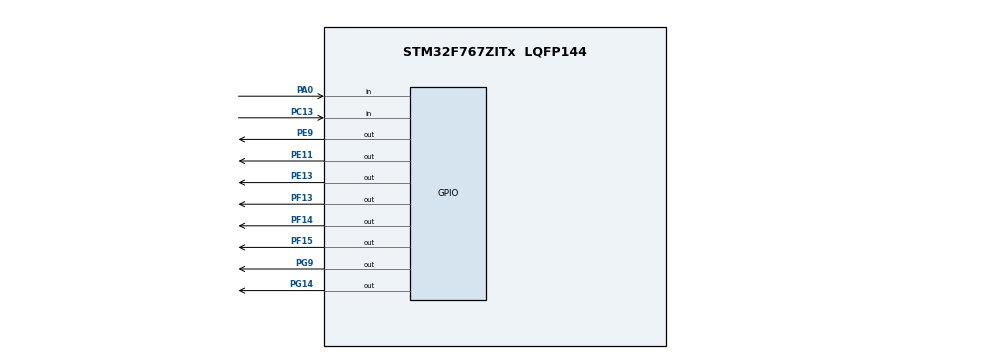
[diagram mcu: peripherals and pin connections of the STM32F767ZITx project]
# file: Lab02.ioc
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CORTEX_M7.default_mode_Activation=1
Mcu.Family=STM32F7
Mcu.Name=STM32F767ZITx
Mcu.Package=LQFP144
NVIC.PriorityGroup=NVIC_PRIORITYGROUP_4
PA0/WKUP.Signal=GPIO_Input
PC13.Signal=GPIO_Input
PE11.Signal=GPIO_Output
PE13.Signal=GPIO_Output
PE9.Signal=GPIO_Output
PF13.Signal=GPIO_Output
PF14.Signal=GPIO_Output
PF15.Signal=GPIO_Output
PG14.Signal=GPIO_Output
PG9.Signal=GPIO_Output
ProjectManager.HeapSize=0x200
ProjectManager.StackSize=0x400
ProjectManager.TargetToolchain=STM32CubeIDE
RCC.HSE_VALUE=25000000
RCC.HSI_VALUE=16000000
RCC.LSE_VALUE=32768
RCC.USBFreq_Value=96000000
RCC.VCOOutputFreq_Value=192000000
board=custom

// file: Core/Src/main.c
/* USER CODE BEGIN Header */
/**
  ******************************************************************************
  * @file           : main.c
  * @brief          : Main program body
  ******************************************************************************
  * @attention
  *
  * Copyright (c) 2025 STMicroelectronics.
  * All rights reserved.
  *
  * This software is licensed under terms that can be found in the LICENSE file
  * in the root directory of this software component.
  * If no LICENSE file comes with this software, it is provided AS-IS.
  *
  ******************************************************************************
  */
/* USER CODE END Header */
#include "main.h"
#include "gpio.h"

/* USER CODE BEGIN PV */
uint8_t test = 0;
uint8_t var = 0;
int8_t i = 0;
int8_t si = 0;
uint8_t toggle = 0;
GPIO_TypeDef* IOPIN[8] = {GPIOG, GPIOG, GPIOF, GPIOE, GPIOF, GPIOE, GPIOE, GPIOF};
uint16_t LED_Pin[8] = {GPIO_PIN_9, GPIO_PIN_14, GPIO_PIN_15, GPIO_PIN_13, GPIO_PIN_14, GPIO_PIN_11, GPIO_PIN_9, GPIO_PIN_13};
/* USER CODE END PV */

void SystemClock_Config(void);
static void MPU_Config(void);

int main(void)
{

  /* MPU Configuration--------------------------------------------------------*/
  MPU_Config();

  /* MCU Configuration--------------------------------------------------------*/

  /* Reset of all peripherals, Initializes the Flash interface and the Systick. */
  HAL_Init();

  /* Configure the system clock */
  SystemClock_Config();

  /* Initialize all configured peripherals */
  MX_GPIO_Init();

  /* Infinite loop */
  while (1)
  {

    /* USER CODE BEGIN 3 */
	  if(HAL_GPIO_ReadPin(GPIOC, GPIO_PIN_13) == GPIO_PIN_SET)
	  {

		  if(i == 0){
			  HAL_GPIO_WritePin(IOPIN[i], LED_Pin[i], GPIO_PIN_SET);
			  HAL_GPIO_WritePin(IOPIN[7], LED_Pin[7], GPIO_PIN_RESET);
			  test = HAL_GPIO_ReadPin(IOPIN[i], LED_Pin[i]);
			  i++;

		  }else if(i <= 7){
			  HAL_GPIO_WritePin(IOPIN[i], LED_Pin[i], GPIO_PIN_SET);
			  HAL_GPIO_WritePin(IOPIN[i - 1], LED_Pin[i - 1], GPIO_PIN_RESET);
			  test = HAL_GPIO_ReadPin(IOPIN[i], LED_Pin[i]);
			  i++;
		  }else{
			  i = 0;
			  HAL_GPIO_WritePin(IOPIN[i], LED_Pin[i], GPIO_PIN_SET);
			  HAL_GPIO_WritePin(IOPIN[7], LED_Pin[7], GPIO_PIN_RESET);
			  test = HAL_GPIO_ReadPin(IOPIN[i], LED_Pin[i]);
			  i++;
		  }

		  HAL_Delay(300);

	  }else if(HAL_GPIO_ReadPin(GPIOA, GPIO_PIN_0) == GPIO_PIN_RESET){
		  si = i;
		  toggle = 1;
		  if(toggle == 1){
			  for(var = 0; var < 8; var++){
				  i--;
				  if(i == -1){
					  i = 8;
				  }
				  if(i == 0){
					  HAL_GPIO_WritePin(IOPIN[i], LED_Pin[i], GPIO_PIN_RESET);
					  i = 8;
				  }

				  HAL_GPIO_WritePin(IOPIN[i - 1], LED_Pin[i - 1], GPIO_PIN_SET);
				  HAL_GPIO_WritePin(IOPIN[i], LED_Pin[i], GPIO_PIN_RESET);

				  HAL_Delay(300);
			  }
			  if(i == 0){
				  HAL_GPIO_WritePin(IOPIN[i], LED_Pin[i], GPIO_PIN_RESET);
			  }
			  if (si == 0){
				  HAL_GPIO_WritePin(IOPIN[0], LED_Pin[0], GPIO_PIN_RESET);
				  i = 0;
			  }
			  toggle = 0;
		  }

	  }
  }
  /* USER CODE END 3 */
}

void SystemClock_Config(void)
{
  RCC_OscInitTypeDef RCC_OscInitStruct = {0};
  RCC_ClkInitTypeDef RCC_ClkInitStruct = {0};

  /** Configure the main internal regulator output voltage
  */
  __HAL_RCC_PWR_CLK_ENABLE();
  __HAL_PWR_VOLTAGESCALING_CONFIG(PWR_REGULATOR_VOLTAGE_SCALE3);

  /** Initializes the RCC Oscillators according to the specified parameters
  * in the RCC_OscInitTypeDef structure.
  */
  RCC_OscInitStruct.OscillatorType = RCC_OSCILLATORTYPE_HSI;
  RCC_OscInitStruct.HSIState = RCC_HSI_ON;
  RCC_OscInitStruct.HSICalibrationValue = RCC_HSICALIBRATION_DEFAULT;
  RCC_OscInitStruct.PLL.PLLState = RCC_PLL_NONE;
  if (HAL_RCC_OscConfig(&RCC_OscInitStruct) != HAL_OK)
  {
    Error_Handler();
  }

  /** Initializes the CPU, AHB and APB buses clocks
  */
  RCC_ClkInitStruct.ClockType = RCC_CLOCKTYPE_HCLK|RCC_CLOCKTYPE_SYSCLK
                              |RCC_CLOCKTYPE_PCLK1|RCC_CLOCKTYPE_PCLK2;
  RCC_ClkInitStruct.SYSCLKSource = RCC_SYSCLKSOURCE_HSI;
  RCC_ClkInitStruct.AHBCLKDivider = RCC_SYSCLK_DIV1;
  RCC_ClkInitStruct.APB1CLKDivider = RCC_HCLK_DIV1;
  RCC_ClkInitStruct.APB2CLKDivider = RCC_HCLK_DIV1;

  if (HAL_RCC_ClockConfig(&RCC_ClkInitStruct, FLASH_LATENCY_0) != HAL_OK)
  {
    Error_Handler();
  }
}

 /* MPU Configuration */

void MPU_Config(void)
{
  MPU_Region_InitTypeDef MPU_InitStruct = {0};

  /* Disables the MPU */
  HAL_MPU_Disable();

  /** Initializes and configures the Region and the memory to be protected
  */
  MPU_InitStruct.Enable = MPU_REGION_ENABLE;
  MPU_InitStruct.Number = MPU_REGION_NUMBER0;
  MPU_InitStruct.BaseAddress = 0x0;
  MPU_InitStruct.Size = MPU_REGION_SIZE_4GB;
  MPU_InitStruct.SubRegionDisable = 0x87;
  MPU_InitStruct.TypeExtField = MPU_TEX_LEVEL0;
  MPU_InitStruct.AccessPermission = MPU_REGION_NO_ACCESS;
  MPU_InitStruct.DisableExec = MPU_INSTRUCTION_ACCESS_DISABLE;
  MPU_InitStruct.IsShareable = MPU_ACCESS_SHAREABLE;
  MPU_InitStruct.IsCacheable = MPU_ACCESS_NOT_CACHEABLE;
  MPU_InitStruct.IsBufferable = MPU_ACCESS_NOT_BUFFERABLE;

  HAL_MPU_ConfigRegion(&MPU_InitStruct);
  /* Enables the MPU */
  HAL_MPU_Enable(MPU_PRIVILEGED_DEFAULT);

}

void Error_Handler(void)
{
  __disable_irq();
  while (1)
  {
  }
}
